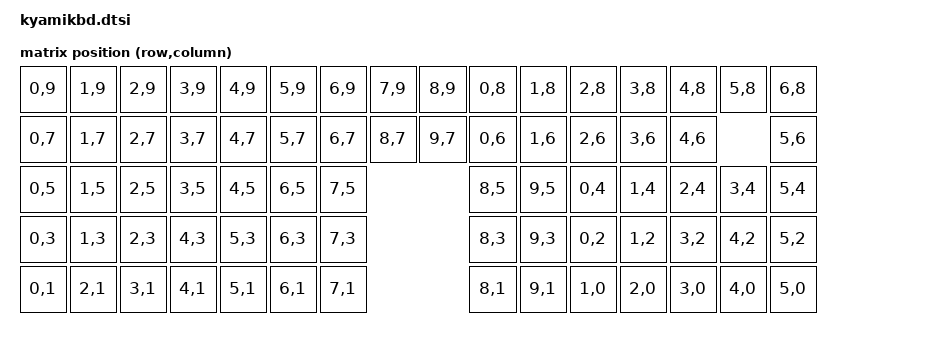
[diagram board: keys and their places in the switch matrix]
#include <dt-bindings/zmk/matrix_transform.h>
#include <physical_layouts.dtsi>
#include <dt-bindings/zmk/bt.h>

/ {
  chosen {
    zmk,physical-layout = &KyamiKBD_physical_layout;
  };

 KyamiKBD_physical_layout: KyamiKBD_physical_layout {
    compatible = "zmk,physical-layout";
    display-name = "KyamiKBD";
    transform = <&default_transform>;
    kscan = <&kscan0>;

    keys =
        // Row 0
        <&key_physical_attrs 100 100    0    0  0 0 0>
        , <&key_physical_attrs 100 100 100    0  0 0 0>
        , <&key_physical_attrs 100 100 200    0  0 0 0>
        , <&key_physical_attrs 100 100 300    0  0 0 0>
        , <&key_physical_attrs 100 100 400    0  0 0 0>
        , <&key_physical_attrs 100 100 500    0  0 0 0>
        , <&key_physical_attrs 100 100 600    0  0 0 0>
        , <&key_physical_attrs 100 100 700    0  0 0 0>
        , <&key_physical_attrs 100 100 800    0  0 0 0>

        // Row 1
        , <&key_physical_attrs 100 100    0 100  0 0 0>
        , <&key_physical_attrs 100 100 100 100  0 0 0>
        , <&key_physical_attrs 100 100 200 100  0 0 0>
        , <&key_physical_attrs 100 100 300 100  0 0 0>
        , <&key_physical_attrs 100 100 400 100  0 0 0>
        , <&key_physical_attrs 100 100 500 100  0 0 0>
        , <&key_physical_attrs 100 100 600 100  0 0 0>
        , <&key_physical_attrs 100 100 700 100  0 0 0>
        , <&key_physical_attrs 100 100 800 100  0 0 0>

        // Row 2
        , <&key_physical_attrs 100 100    0 200  0 0 0>
        , <&key_physical_attrs 100 100 100 200  0 0 0>
        , <&key_physical_attrs 100 100 200 200  0 0 0>
        , <&key_physical_attrs 100 100 300 200  0 0 0>
        , <&key_physical_attrs 100 100 400 200  0 0 0>
        , <&key_physical_attrs 100 100 500 200  0 0 0>
        , <&key_physical_attrs 100 100 600 200  0 0 0>
        , <&key_physical_attrs 100 100 700 200  0 0 0>
        , <&key_physical_attrs 100 100 800 200  0 0 0>

        // Row 3
        , <&key_physical_attrs 100 100    0 300  0 0 0>
        , <&key_physical_attrs 100 100 100 300  0 0 0>
        , <&key_physical_attrs 100 100 200 300  0 0 0>
        , <&key_physical_attrs 100 100 300 300  0 0 0>
        , <&key_physical_attrs 100 100 400 300  0 0 0>
        , <&key_physical_attrs 100 100 500 300  0 0 0>
        , <&key_physical_attrs 100 100 600 300  0 0 0>
        , <&key_physical_attrs 100 100 700 300  0 0 0>
        , <&key_physical_attrs 100 100 800 300  0 0 0>
    ;
};

    
    default_transform: keymap_transform_0 {
      compatible = "zmk,matrix-transform";
      columns = <8>;
      rows = <3>;

      map = <
        RC(0,9)   RC(1,9)   RC(2,9)   RC(3,9)   RC(4,9)   RC(5,9)   RC(6,9)   RC(7,9)   RC(8,9)   RC(0,8)   RC(1,8)   RC(2,8)   RC(3,8)  RC(4,8) RC(5,8)  RC(6,8)
        RC(0,7)   RC(1,7)   RC(2,7)   RC(3,7)   RC(4,7)   RC(5,7)   RC(6,7)   RC(8,7)   RC(9,7)   RC(0,6)   RC(1,6)   RC(2,6)   RC(3,6)      RC(4,6)      RC(5,6)
        RC(0,5)   RC(1,5)   RC(2,5)   RC(3,5)   RC(4,5)   RC(6,5)   RC(7,5)   RC(8,5)   RC(9,5)   RC(0,4)   RC(1,4)   RC(2,4)          RC(3,4)            RC(5,4)   
          RC(0,3)   RC(1,3)   RC(2,3)   RC(4,3)   RC(5,3)   RC(6,3)   RC(7,3)   RC(8,3)   RC(9,3)   RC(0,2)   RC(1,2)     RC(3,2)            RC(4,2)      RC(5,2)
        RC(0,1)   RC(2,1)   RC(3,1)   RC(4,1)   RC(5,1)   RC(6,1)   RC(7,1)   RC(8,1)   RC(9,1)   RC(1,0)   RC(2,0)                RC(3,0)   RC(4,0)      RC(5,0)
        >;
    };
 
    kscan0: kscan_0 {
        compatible = "zmk,kscan-gpio-charlieplex";
 
        interrupt-gpios = <&xiao_d 10 (GPIO_ACTIVE_LOW | GPIO_PULL_UP)>;
    };
};

&xiao_i2c { status = "disabled"; };
